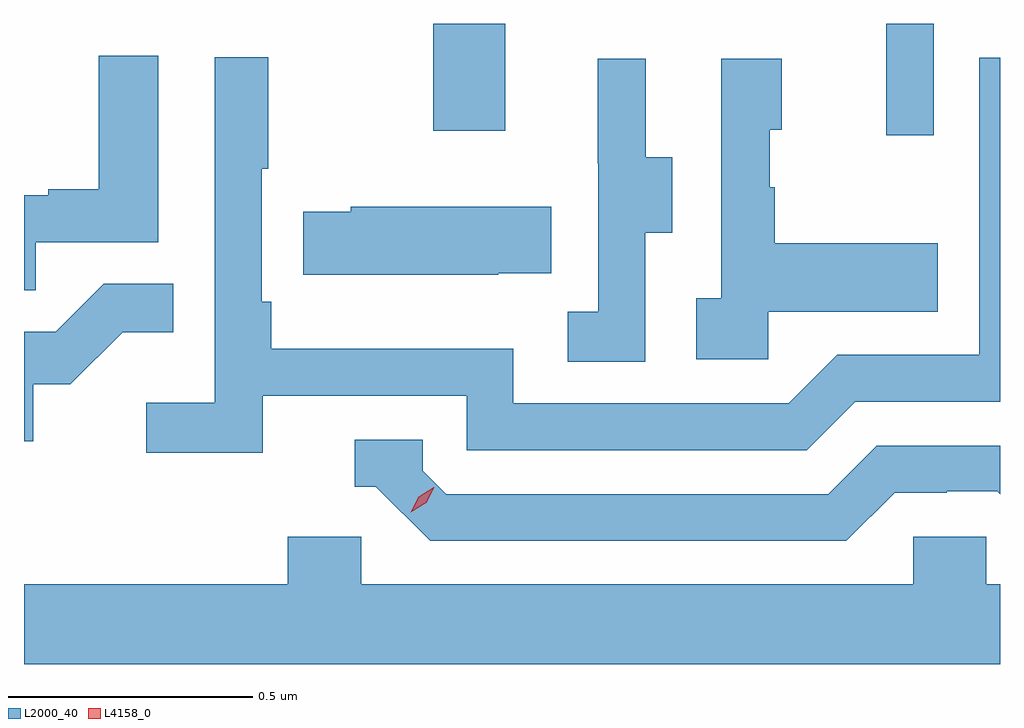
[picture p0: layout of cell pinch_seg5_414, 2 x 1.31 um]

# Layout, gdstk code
import gdstk
lib = gdstk.Library(unit=1e-6, precision=1e-09)
def R(c, l, rs):  # rectangles x0, y0, x1, y1
    for r in rs: c.add(gdstk.rectangle(r[:2], r[2:], *l))
def P(c, l, *ps):  # polygons
    for p in ps: c.add(gdstk.Polygon(p, *l))
L2000_40 = (2000, 40)
L4158_0 = (4158, 0)

pinch_seg5_414 = lib.new_cell('pinch_seg5_414')
R(pinch_seg5_414, L2000_40, [(989.708,861.84,989.805,862.069), (988.78,861.849,988.927,862.069)])
P(pinch_seg5_414, L2000_40, [(987.965,861.621),(988.216,861.621),(988.216,862.003),(988.094,862.003),(988.094,861.73),(987.991,861.73),(987.991,861.717),(987.941,861.717),(987.941,861.523),(987.965,861.523)],
  [(988.43,861.306),(988.848,861.306),(988.848,861.195),(989.545,861.195),(989.644,861.294),(989.941,861.294),(989.941,861.999),(989.898,861.999),(989.898,861.39),(989.607,861.39),(989.508,861.291),(988.944,861.291),(988.944,861.403),(988.448,861.403),(988.448,861.499),(988.428,861.499),(988.428,861.772),(988.441,861.772),(988.441,862),(988.332,862),(988.332,861.292),(988.191,861.292),(988.191,861.19),(988.43,861.19)],
  [(989.214,861.64),(989.269,861.64),(989.269,861.795),(989.215,861.795),(989.215,861.997),(989.117,861.997),(989.117,861.783),(989.118,861.783),(989.118,861.479),(989.055,861.479),(989.055,861.376),(989.214,861.376)],
  [(989.466,861.479),(989.813,861.479),(989.813,861.619),(989.479,861.619),(989.479,861.734),(989.469,861.734),(989.469,861.852),(989.494,861.852),(989.494,861.997),(989.37,861.997),(989.37,861.506),(989.319,861.506),(989.319,861.381),(989.466,861.381)],
  [(988.913,861.557),(989.021,861.557),(989.021,861.694),(988.611,861.694),(988.611,861.684),(988.513,861.684),(988.513,861.554),(988.913,861.554)],
  [(987.96,861.33),(988.036,861.33),(988.143,861.437),(988.247,861.437),(988.247,861.536),(988.104,861.536),(988.006,861.438),(987.941,861.438),(987.941,861.213),(987.96,861.213)],
  [(989.725,861.108),(989.832,861.108),(989.832,861.111),(989.935,861.111),(989.941,861.105),(989.941,861.204),(989.688,861.204),(989.589,861.105),(988.806,861.105),(988.758,861.153),(988.758,861.216),(988.619,861.216),(988.619,861.12),(988.662,861.12),(988.773,861.009),(989.626,861.009)],
  [(989.941,860.92),(989.913,860.92),(989.913,861.018),(989.763,861.018),(989.763,860.92),(988.632,860.92),(988.632,861.018),(988.481,861.018),(988.481,860.92),(987.941,860.92),(987.941,860.756),(989.941,860.756)])
P(pinch_seg5_414, L4158_0, [(988.734,861.068),(988.734,861.068),(988.75,861.1),(988.781,861.119),(988.782,861.119),(988.782,861.119),(988.765,861.087),(988.734,861.068)])

lib.write_gds('pinch_seg5_414.gds')
